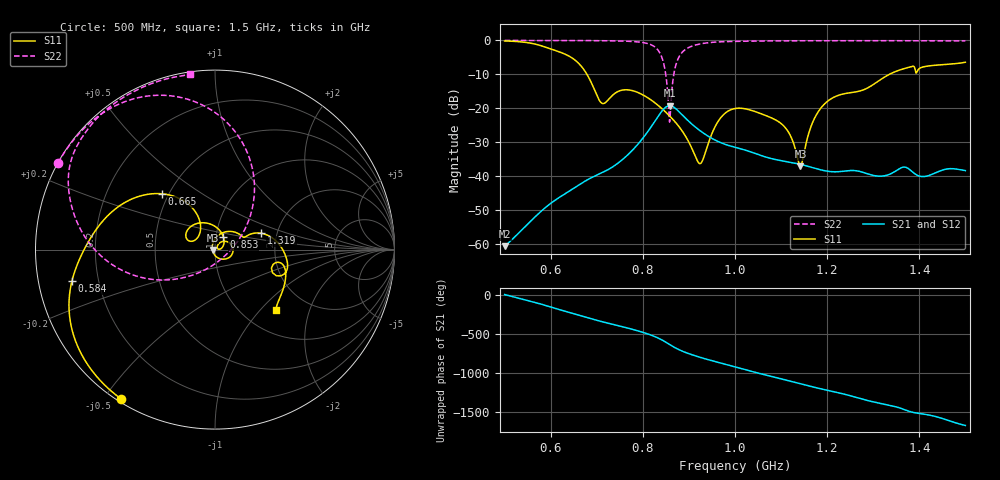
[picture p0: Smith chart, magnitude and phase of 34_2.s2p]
! TOUCHSTONE file generated by CST MICROWAVE STUDIO
! Date and time: Wed Oct 28 19:39:56 2020
! Project name: Scenario_1_Circular_Tissue_out_of_Line_v2.cst
! Parameters = {dy1=224.9; L_HA=400; MT=2.54; Rad_Dielectric=30; Rad_Lower=7.3; Rad_Upper=30; a_HA=580; a_WG=246; b_HA=500; b_WG=121; c_HA=0; c_WG=187; d_feed=85; dx1=346; h_feed=15; h_lower=18; h_upper=40}
! Header version: 2018
! Port assignment regex: !\s*Touchstone port\s*([0-9]+)\s*=\s*(CST MWS port|CST DS port)\s*([0-9]+|Zmin|Zmax)\s*\(\"(.*)\"\)(\s*mode\s*([0-9]+))?.*
! Touchstone port assignment:
! Touchstone port 1 = CST MWS port 1 ("")
! Touchstone port 2 = CST MWS port 2 ("")
# GHz S DB R 50
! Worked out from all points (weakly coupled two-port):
!   1003 points, 500 MHz to 1.5 GHz, reference 50 ohm
!   highest |S21| = -19.22 dB at 858 MHz (marker M1); lowest = -60.6 dB at 500 MHz (marker M2)
!   lowest |S11| = -37.0 dB at 1.142 GHz (marker M3), VSWR 1.03, Z = 48.6 - j0.254 ohm
!   |S11| at or under -10 dB: 678.8 MHz to 1.335 GHz (656 MHz wide, 65.2 % of centre)
!   |S22| runs from -24.0 to 0.0 dB; largest |S21 - S12| = 3.9e-05
!   S11 on the Smith chart (normalised r, x): 500 MHz: 0.01, -0.55; 584 MHz: 0.10, -0.11; 665 MHz: 0.46, +0.35; 853 MHz: 1.09, +0.15; 1.319 GHz: 1.66, +0.33; 1.5 GHz: 1.41, -1.22
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0.5  -0.15 -122.2  -60.55 6.3  -60.55 6.3  -0.01 151.1
0.584  -1.77 -167.6  -49.71 -125.2  -49.71 -125.2  -0.02 145.3
0.665  -7.38 133.4  -42.22 94.4  -42.22 94.4  -0.04 138.6
0.667  -7.70 131.6  -42.05 91.0  -42.05 91.0  -0.04 138.4
0.711  -18.49 139.1  -38.98 18.2  -38.98 18.2  -0.08 133.5
0.79  -15.37 119.1  -30.43 -101.3  -30.43 -101.3  -0.44 117.2
0.834  -19.21 75.9  -22.19 165.2  -22.19 165.2  -3.05 83.9
0.846  -20.64 63.4  -20.09 127.7  -20.09 127.7  -7.23 59.8
0.853  -21.54 55.9  -19.37 102.8  -19.37 102.8  -13.87 34.4
0.858  -22.22 50.5  -19.22 84.5  -19.22 84.5  -24.04 -45.4
0.868  -23.66 39.5  -19.73 49.6  -19.73 49.6  -9.37 -150.1
0.878  -25.30 28.5  -20.90 19.3  -20.90 19.3  -4.97 -170.4
0.924  -36.26 27.9  -26.55 -79.5  -26.55 -79.5  -1.04 157.0
0.964  -23.70 44.6  -29.79 -145.6  -29.79 -145.6  -0.43 146.3
1  -20.04 5.0  -31.44 158.1  -31.44 158.1  -0.28 140.3
1.101  -24.57 -60.6  -35.41 2.6  -35.41 2.6  -0.12 129.7
1.142  -37.01 -169.3  -36.47 -59.8  -36.47 -59.8  -0.10 126.2
1.167  -24.61 90.6  -37.38 -97.5  -37.38 -97.5  -0.10 124.3
1.207  -17.30 47.8  -38.60 -152.0  -38.60 -152.0  -0.09 121.2
1.319  -11.25 19.4  -39.93 44.4  -39.94 44.4  -0.08 112.7
1.334  -10.05 13.6  -39.47 26.0  -39.47 26.0  -0.08 111.5
1.5  -6.42 -44.7  -38.31 125.0  -38.33 124.9  -0.13 98.0
